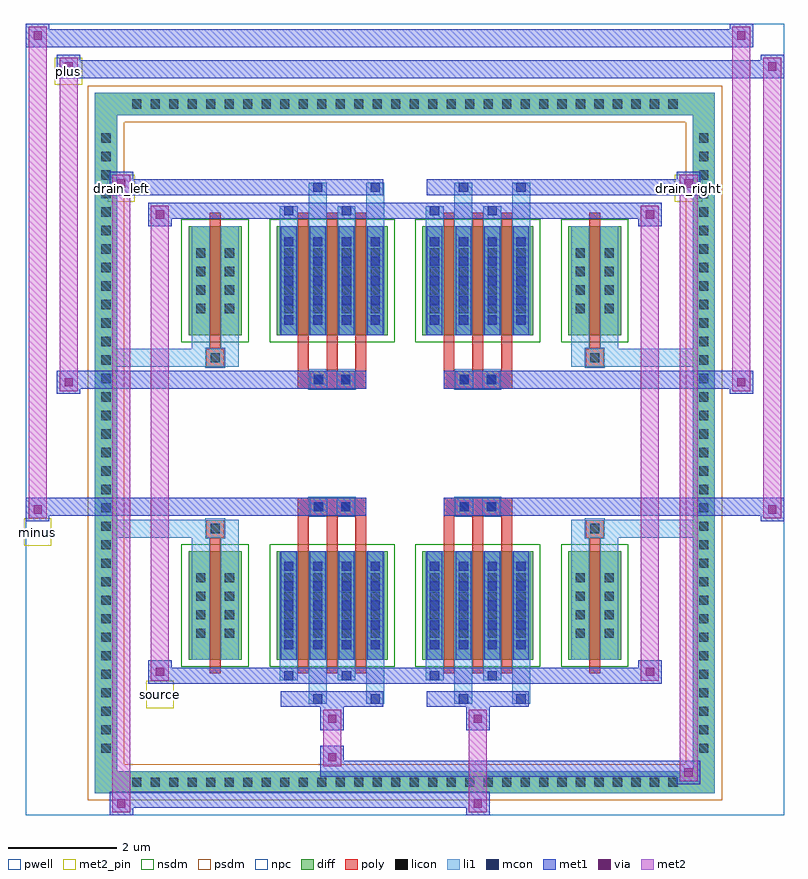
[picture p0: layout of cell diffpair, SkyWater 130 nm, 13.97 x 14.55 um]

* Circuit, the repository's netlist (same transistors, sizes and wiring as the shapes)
* NGSPICE file created from diffpair.ext - technology: sky130A

.subckt diffpair minus drain_right drain_left source plus
X0 source minus drain_right a_n1140_n1288# sky130_fd_pr__nfet_01v8 ad=0.33 pd=2.33 as=0.33 ps=2.33 w=2 l=0.2
X1 drain_right minus source a_n1140_n1288# sky130_fd_pr__nfet_01v8 ad=0.78 pd=4.78 as=0.33 ps=2.33 w=2 l=0.2
X2 source plus drain_left a_n1140_n1288# sky130_fd_pr__nfet_01v8 ad=0.33 pd=2.33 as=0.33 ps=2.33 w=2 l=0.2
X3 source plus drain_left a_n1140_n1288# sky130_fd_pr__nfet_01v8 ad=0.33 pd=2.33 as=0.33 ps=2.33 w=2 l=0.2
X4 a_n1140_n1288# a_n1140_n1288# a_n1140_n1288# a_n1140_n1288# sky130_fd_pr__nfet_01v8 ad=0.78 pd=4.78 as=6.24 ps=38.24 w=2 l=0.2
X5 source minus drain_right a_n1140_n1288# sky130_fd_pr__nfet_01v8 ad=0.33 pd=2.33 as=0.33 ps=2.33 w=2 l=0.2
X6 a_n1140_n1288# a_n1140_n1288# a_n1140_n1288# a_n1140_n1288# sky130_fd_pr__nfet_01v8 ad=0.78 pd=4.78 as=0 ps=0 w=2 l=0.2
X7 drain_left plus source a_n1140_n1288# sky130_fd_pr__nfet_01v8 ad=0.78 pd=4.78 as=0.33 ps=2.33 w=2 l=0.2
X8 a_n1140_n1288# a_n1140_n1288# a_n1140_n1288# a_n1140_n1288# sky130_fd_pr__nfet_01v8 ad=0.78 pd=4.78 as=0 ps=0 w=2 l=0.2
X9 drain_right minus source a_n1140_n1288# sky130_fd_pr__nfet_01v8 ad=0.33 pd=2.33 as=0.78 ps=4.78 w=2 l=0.2
X10 drain_left plus source a_n1140_n1288# sky130_fd_pr__nfet_01v8 ad=0.78 pd=4.78 as=0.33 ps=2.33 w=2 l=0.2
X11 drain_right minus source a_n1140_n1288# sky130_fd_pr__nfet_01v8 ad=0.33 pd=2.33 as=0.78 ps=4.78 w=2 l=0.2
X12 drain_right minus source a_n1140_n1288# sky130_fd_pr__nfet_01v8 ad=0.78 pd=4.78 as=0.33 ps=2.33 w=2 l=0.2
X13 drain_left plus source a_n1140_n1288# sky130_fd_pr__nfet_01v8 ad=0.33 pd=2.33 as=0.78 ps=4.78 w=2 l=0.2
X14 drain_left plus source a_n1140_n1288# sky130_fd_pr__nfet_01v8 ad=0.33 pd=2.33 as=0.78 ps=4.78 w=2 l=0.2
X15 a_n1140_n1288# a_n1140_n1288# a_n1140_n1288# a_n1140_n1288# sky130_fd_pr__nfet_01v8 ad=0.78 pd=4.78 as=0 ps=0 w=2 l=0.2
.ends

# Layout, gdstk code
import gdstk
lib = gdstk.Library(unit=1e-6, precision=5e-09)
def R(c, l, rs):  # rectangles x0, y0, x1, y1
    for r in rs: c.add(gdstk.rectangle(r[:2], r[2:], *l))
def A(c, l, x, y, w, h, nx, ny, dx, dy):  # array of equal rectangles
    R(c, l, [(x+i*dx, y+j*dy, x+i*dx+w, y+j*dy+h) for i in range(nx) for j in range(ny)])
def P(c, l, *ps):  # polygons
    for p in ps: c.add(gdstk.Polygon(p, *l))
pwell = (64, 44)
diff = (65, 20)
poly = (66, 20)
licon = (66, 44)
li1 = (67, 20)
mcon = (67, 44)
met1 = (68, 20)
via = (68, 44)
met2_pin = (69, 16)
met2 = (69, 20)
nsdm = (93, 44)
psdm = (94, 20)
npc = (95, 20)

diffpair = lib.new_cell('diffpair')
R(diffpair, pwell, [(-6.97,-6.84,6.97,7.71), (-4.29,-5.03,-0.01,-0.805), (0.01,-5.03,4.29,-0.805), (-4.29,0.805,-0.01,5.03), (0.01,0.805,4.29,5.03)])
A(diffpair, diff, -5.135, -6.44, 0.41, 0.41, 30, 2, 0.34, 12.47)
A(diffpair, diff, -5.7, -5.815, 0.41, 0.41, 1, 34, 0, 0.34)
A(diffpair, diff, 5.29, -5.815, 0.41, 0.41, 1, 34, 0, 0.34)
R(diffpair, diff, [(-5.135,-6.44,5.135,-6.03), (-5.7,-5.815,-5.29,5.815), (5.29,-5.815,5.7,5.815), (-3.98,-3.985,-3,-1.985), (-2.36,-3.985,-0.32,-1.985), (0.32,-3.985,2.36,-1.985), (3,-3.985,3.98,-1.985), (-3.98,1.985,-3,3.985), (-2.36,1.985,-0.32,3.985), (0.32,1.985,2.36,3.985), (3,1.985,3.98,3.985), (-5.135,6.03,5.135,6.44)])
P(diffpair, diff, [(5.7,6.44),(-5.7,6.44),(-5.7,-6.03),(-5.29,-6.03),(-5.29,6.03),(5.29,6.03),(5.29,-6.03),(-5.29,-6.03),(-5.7,-6.03),(-5.7,-6.44),(5.7,-6.44)])
A(diffpair, poly, -1.97, -4.235, 0.2, 2.5, 3, 2, 0.53, 5.97)
A(diffpair, poly, 0.71, -4.235, 0.2, 2.5, 3, 2, 0.53, 5.97)
A(diffpair, poly, -1.97, -1.735, 0.2, 0.4, 3, 2, 0.53, 3.07)
A(diffpair, poly, 0.71, -1.735, 0.2, 0.4, 3, 2, 0.53, 3.07)
R(diffpair, poly, [(-3.59,-4.235,-3.39,-1.735), (3.39,-4.235,3.59,-1.735), (-3.655,-1.735,-3.325,-1.405), (-3.655,-1.735,-3.325,-1.405), (3.325,-1.735,3.655,-1.405), (3.325,-1.735,3.655,-1.405), (-1.97,-1.335,-0.71,-1.005), (-1.755,-1.335,-1.425,-1.005), (-1.255,-1.335,-0.925,-1.005), (0.71,-1.335,1.97,-1.005), (0.925,-1.335,1.255,-1.005), (1.425,-1.335,1.755,-1.005), (-1.97,1.005,-0.71,1.335), (-1.755,1.005,-1.425,1.335), (-1.255,1.005,-0.925,1.335), (0.71,1.005,1.97,1.335), (0.925,1.005,1.255,1.335), (1.425,1.005,1.755,1.335), (-3.655,1.405,-3.325,1.735), (-3.655,1.405,-3.325,1.735), (3.325,1.405,3.655,1.735), (3.325,1.405,3.655,1.735), (-3.59,1.735,-3.39,4.235), (3.39,1.735,3.59,4.235)])
A(diffpair, licon, -5.015, -6.32, 0.17, 0.17, 30, 2, 0.34, 12.47)
A(diffpair, licon, -5.58, -5.695, 0.17, 0.17, 1, 34, 0, 0.34)
A(diffpair, licon, 5.41, -5.695, 0.17, 0.17, 1, 34, 0, 0.34)
A(diffpair, licon, -3.84, -3.58, 0.17, 0.17, 1, 4, 0, 0.34)
A(diffpair, licon, -3.31, -3.58, 0.17, 0.17, 1, 4, 0, 0.34)
A(diffpair, licon, -2.22, -3.58, 0.17, 0.17, 4, 4, 0.53, 0.34)
A(diffpair, licon, 0.46, -3.58, 0.17, 0.17, 4, 4, 0.53, 0.34)
A(diffpair, licon, 3.14, -3.58, 0.17, 0.17, 1, 4, 0, 0.34)
A(diffpair, licon, 3.67, -3.58, 0.17, 0.17, 1, 4, 0, 0.34)
A(diffpair, licon, -3.84, 2.39, 0.17, 0.17, 1, 4, 0, 0.34)
A(diffpair, licon, -3.31, 2.39, 0.17, 0.17, 1, 4, 0, 0.34)
A(diffpair, licon, -2.22, 2.39, 0.17, 0.17, 4, 4, 0.53, 0.34)
A(diffpair, licon, 0.46, 2.39, 0.17, 0.17, 4, 4, 0.53, 0.34)
A(diffpair, licon, 3.14, 2.39, 0.17, 0.17, 1, 4, 0, 0.34)
A(diffpair, licon, 3.67, 2.39, 0.17, 0.17, 1, 4, 0, 0.34)
R(diffpair, licon, [(-3.575,-1.655,-3.405,-1.485), (3.405,-1.655,3.575,-1.485), (-1.675,-1.255,-1.505,-1.085), (-1.175,-1.255,-1.005,-1.085), (1.005,-1.255,1.175,-1.085), (1.505,-1.255,1.675,-1.085), (-1.675,1.085,-1.505,1.255), (-1.175,1.085,-1.005,1.255), (1.005,1.085,1.175,1.255), (1.505,1.085,1.675,1.255), (-3.575,1.485,-3.405,1.655), (3.405,1.485,3.575,1.655)])
A(diffpair, li1, -5.095, -6.4, 0.33, 0.33, 30, 2, 0.34, 12.47)
A(diffpair, li1, -5.66, -5.775, 0.33, 0.33, 1, 34, 0, 0.34)
A(diffpair, li1, 5.33, -5.775, 0.33, 0.33, 1, 34, 0, 0.34)
A(diffpair, li1, -2.3, -3.985, 0.33, 2, 4, 2, 0.53, 5.97)
A(diffpair, li1, 0.38, -3.985, 0.33, 2, 4, 2, 0.53, 5.97)
A(diffpair, li1, -2.22, -3.79, 0.17, 0.17, 4, 5, 0.53, 0.36)
A(diffpair, li1, -2.22, -3.79, 0.17, 1.61, 4, 2, 0.53, 5.97)
A(diffpair, li1, 0.46, -3.79, 0.17, 0.17, 4, 5, 0.53, 0.36)
A(diffpair, li1, 0.46, -3.79, 0.17, 1.61, 4, 2, 0.53, 5.97)
A(diffpair, li1, -3.92, -3.66, 0.33, 0.33, 1, 4, 0, 0.34)
A(diffpair, li1, -3.39, -3.66, 0.33, 0.33, 1, 4, 0, 0.34)
A(diffpair, li1, -2.3, -3.66, 0.33, 0.33, 4, 4, 0.53, 0.34)
A(diffpair, li1, 0.38, -3.66, 0.33, 0.33, 4, 4, 0.53, 0.34)
A(diffpair, li1, 3.06, -3.66, 0.33, 0.33, 1, 4, 0, 0.34)
A(diffpair, li1, 3.59, -3.66, 0.33, 0.33, 1, 4, 0, 0.34)
A(diffpair, li1, -2.22, 2.18, 0.17, 0.17, 4, 5, 0.53, 0.36)
A(diffpair, li1, 0.46, 2.18, 0.17, 0.17, 4, 5, 0.53, 0.36)
A(diffpair, li1, -3.92, 2.31, 0.33, 0.33, 1, 4, 0, 0.34)
A(diffpair, li1, -3.39, 2.31, 0.33, 0.33, 1, 4, 0, 0.34)
A(diffpair, li1, -2.3, 2.31, 0.33, 0.33, 4, 4, 0.53, 0.34)
A(diffpair, li1, 0.38, 2.31, 0.33, 0.33, 4, 4, 0.53, 0.34)
A(diffpair, li1, 3.06, 2.31, 0.33, 0.33, 1, 4, 0, 0.34)
A(diffpair, li1, 3.59, 2.31, 0.33, 0.33, 1, 4, 0, 0.34)
R(diffpair, li1, [(-5.7,-6.44,-5.29,-6.03), (-5.7,-6.44,-5.29,-6.03), (-5.29,-6.44,5.29,-6.03), (5.29,-6.44,5.7,-6.03), (5.29,-6.44,5.7,-6.03), (-5.7,-6.03,-5.29,6.03), (5.29,-6.03,5.7,6.03), (-1.77,-4.79,-1.44,-3.985), (-1.69,-4.79,-1.52,-4.62), (-0.71,-4.79,-0.38,-3.985), (-0.63,-4.79,-0.46,-4.62), (0.91,-4.79,1.24,-3.985), (0.99,-4.79,1.16,-4.62), (1.97,-4.79,2.3,-3.985), (2.05,-4.79,2.22,-4.62), (-2.3,-4.36,-1.97,-3.985), (-2.22,-4.36,-2.05,-4.19), (-1.24,-4.36,-0.91,-3.985), (-1.16,-4.36,-0.99,-4.19), (0.38,-4.36,0.71,-3.985), (0.46,-4.36,0.63,-4.19), (1.44,-4.36,1.77,-3.985), (1.52,-4.36,1.69,-4.19), (-3.92,-3.985,-3.59,-1.985), (-3.39,-3.985,-3.06,-1.985), (3.06,-3.985,3.39,-1.985), (3.59,-3.985,3.92,-1.985), (-3.92,-1.985,-3.59,-1.405), (-3.39,-1.985,-3.06,-1.405), (3.06,-1.985,3.39,-1.405), (3.59,-1.985,3.92,-1.405), (-5.7,-1.735,-3.655,-1.405), (-3.92,-1.735,-3.655,-1.405), (-3.655,-1.735,-3.325,-1.405), (-3.325,-1.735,-3.06,-1.405), (3.06,-1.735,3.325,-1.405), (3.325,-1.735,3.655,-1.405), (3.325,-1.735,5.7,-1.405), (3.655,-1.735,3.92,-1.405), (-1.755,-1.335,-1.425,-1.005), (-1.255,-1.335,-0.925,-1.005), (0.925,-1.335,1.255,-1.005), (1.425,-1.335,1.755,-1.005), (-1.755,1.005,-1.425,1.335), (-1.255,1.005,-0.925,1.335), (0.925,1.005,1.255,1.335), (1.425,1.005,1.755,1.335), (-5.7,1.405,-3.655,1.735), (-3.92,1.405,-3.655,1.735), (-3.92,1.405,-3.59,1.985), (-3.655,1.405,-3.325,1.735), (-3.39,1.405,-3.06,1.985), (-3.325,1.405,-3.06,1.735), (3.06,1.405,3.325,1.735), (3.06,1.405,3.39,1.985), (3.325,1.405,3.655,1.735), (3.325,1.405,5.7,1.735), (3.59,1.405,3.92,1.985), (3.655,1.405,3.92,1.735), (-3.92,1.985,-3.59,3.985), (-3.39,1.985,-3.06,3.985), (3.06,1.985,3.39,3.985), (3.59,1.985,3.92,3.985), (-2.3,3.985,-1.97,4.36), (-1.77,3.985,-1.44,4.79), (-1.24,3.985,-0.91,4.36), (-0.71,3.985,-0.38,4.79), (0.38,3.985,0.71,4.36), (0.91,3.985,1.24,4.79), (1.44,3.985,1.77,4.36), (1.97,3.985,2.3,4.79), (-2.22,4.19,-2.05,4.36), (-1.16,4.19,-0.99,4.36), (0.46,4.19,0.63,4.36), (1.52,4.19,1.69,4.36), (-1.69,4.62,-1.52,4.79), (-0.63,4.62,-0.46,4.79), (0.99,4.62,1.16,4.79), (2.05,4.62,2.22,4.79), (-5.7,6.03,-5.29,6.44), (-5.7,6.03,-5.29,6.44), (-5.29,6.03,5.29,6.44), (5.29,6.03,5.7,6.44), (5.29,6.03,5.7,6.44)])
A(diffpair, mcon, -2.22, -3.79, 0.17, 0.17, 4, 5, 0.53, 0.36)
A(diffpair, mcon, 0.46, -3.79, 0.17, 0.17, 4, 5, 0.53, 0.36)
A(diffpair, mcon, -2.22, 2.18, 0.17, 0.17, 4, 5, 0.53, 0.36)
A(diffpair, mcon, 0.46, 2.18, 0.17, 0.17, 4, 5, 0.53, 0.36)
R(diffpair, mcon, [(-1.69,-4.79,-1.52,-4.62), (-0.63,-4.79,-0.46,-4.62), (0.99,-4.79,1.16,-4.62), (2.05,-4.79,2.22,-4.62), (-2.22,-4.36,-2.05,-4.19), (-1.16,-4.36,-0.99,-4.19), (0.46,-4.36,0.63,-4.19), (1.52,-4.36,1.69,-4.19), (-1.675,-1.255,-1.505,-1.085), (-1.175,-1.255,-1.005,-1.085), (1.005,-1.255,1.175,-1.085), (1.505,-1.255,1.675,-1.085), (-1.675,1.085,-1.505,1.255), (-1.175,1.085,-1.005,1.255), (1.005,1.085,1.175,1.255), (1.505,1.085,1.675,1.255), (-2.22,4.19,-2.05,4.36), (-1.16,4.19,-0.99,4.36), (0.46,4.19,0.63,4.36), (1.52,4.19,1.69,4.36), (-1.69,4.62,-1.52,4.79), (-0.63,4.62,-0.46,4.79), (0.99,4.62,1.16,4.79), (2.05,4.62,2.22,4.79)])
A(diffpair, met1, -2.28, -3.985, 0.29, 2, 4, 2, 0.53, 5.97)
A(diffpair, met1, 0.4, -3.985, 0.29, 2, 4, 2, 0.53, 5.97)
A(diffpair, met1, -2.28, -3.85, 0.29, 0.29, 4, 5, 0.53, 0.36)
A(diffpair, met1, 0.4, -3.85, 0.29, 0.29, 4, 5, 0.53, 0.36)
A(diffpair, met1, -2.28, 2.12, 0.29, 0.29, 4, 5, 0.53, 0.36)
A(diffpair, met1, 0.4, 2.12, 0.29, 0.29, 4, 5, 0.53, 0.36)
R(diffpair, met1, [(-5.43,-6.84,-5,-6.41), (1.125,-6.84,1.555,-6.41), (-5.43,-6.7,1.555,-6.41), (5,-6.27,5.43,-5.84), (-1.555,-6.13,5.43,-5.84), (-1.555,-5.99,-1.125,-5.56), (-1.555,-5.28,-1.125,-4.85), (1.125,-5.28,1.555,-4.85), (-2.28,-4.85,-0.4,-4.56), (-1.75,-4.85,-1.46,-4.56), (-0.69,-4.85,-0.4,-4.56), (0.4,-4.85,2.28,-4.56), (0.93,-4.85,1.22,-4.56), (1.99,-4.85,2.28,-4.56), (-4.72,-4.42,-4.29,-3.99), (-4.72,-4.42,-2.28,-4.13), (-2.28,-4.42,-1.99,-4.13), (-2.28,-4.42,-0.4,-4.13), (-1.22,-4.42,-0.93,-4.13), (-0.4,-4.42,0.4,-4.13), (0.4,-4.42,0.69,-4.13), (0.4,-4.42,2.28,-4.13), (1.46,-4.42,1.75,-4.13), (2.28,-4.42,4.72,-4.13), (4.29,-4.42,4.72,-3.99), (-6.97,-1.435,-6.54,-1.005), (6.54,-1.435,6.97,-1.005), (-6.97,-1.335,-0.71,-1.005), (-1.97,-1.335,-0.71,-1.005), (0.71,-1.335,1.97,-1.005), (0.71,-1.335,6.97,-1.005), (-1.735,-1.315,-1.445,-1.025), (-1.235,-1.315,-0.945,-1.025), (0.945,-1.315,1.235,-1.025), (1.445,-1.315,1.735,-1.025), (-6.4,0.905,-5.97,1.335), (5.97,0.905,6.4,1.335), (-6.4,1.005,-1.97,1.335), (-1.97,1.005,-0.71,1.335), (0.71,1.005,1.97,1.335), (1.97,1.005,6.4,1.335), (-1.735,1.025,-1.445,1.315), (-1.235,1.025,-0.945,1.315), (0.945,1.025,1.235,1.315), (1.445,1.025,1.735,1.315), (-4.72,3.99,-4.29,4.42), (4.29,3.99,4.72,4.42), (-4.72,4.13,-2.28,4.42), (-2.28,4.13,-1.99,4.42), (-2.28,4.13,-0.4,4.42), (-1.22,4.13,-0.93,4.42), (-0.4,4.13,0.4,4.42), (0.4,4.13,0.69,4.42), (0.4,4.13,2.28,4.42), (1.46,4.13,1.75,4.42), (2.28,4.13,4.72,4.42), (-5.43,4.56,-5,4.99), (-5.43,4.56,-2.28,4.85), (-2.28,4.56,-0.4,4.85), (-1.75,4.56,-1.46,4.85), (-0.69,4.56,-0.4,4.85), (0.4,4.56,2.28,4.85), (0.93,4.56,1.22,4.85), (1.99,4.56,2.28,4.85), (2.28,4.56,5.43,4.85), (5,4.56,5.43,4.99), (-6.4,6.71,-5.97,7.14), (-6.4,6.71,-4.29,7.04), (-4.29,6.71,4.29,7.04), (4.29,6.71,6.97,7.04), (6.54,6.71,6.97,7.14), (-6.97,7.28,-6.54,7.71), (-6.97,7.28,-4.29,7.61), (-4.29,7.28,4.29,7.61), (4.29,7.28,6.4,7.61), (5.97,7.28,6.4,7.71)])
R(diffpair, via, [(-5.29,-6.7,-5.14,-6.55), (1.265,-6.7,1.415,-6.55), (5.14,-6.13,5.29,-5.98), (-1.415,-5.85,-1.265,-5.7), (-1.415,-5.14,-1.265,-4.99), (1.265,-5.14,1.415,-4.99), (-4.58,-4.28,-4.43,-4.13), (4.43,-4.28,4.58,-4.13), (-6.83,-1.295,-6.68,-1.145), (6.68,-1.295,6.83,-1.145), (-6.26,1.045,-6.11,1.195), (6.11,1.045,6.26,1.195), (-4.58,4.13,-4.43,4.28), (4.43,4.13,4.58,4.28), (-5.29,4.7,-5.14,4.85), (5.14,4.7,5.29,4.85), (-6.26,6.85,-6.11,7), (6.68,6.85,6.83,7), (-6.83,7.42,-6.68,7.57), (6.11,7.42,6.26,7.57)])
R(diffpair, met2_pin, [(-4.755,-4.87,-4.255,-4.37), (-7.005,-1.885,-6.505,-1.385), (-5.465,4.44,-4.965,4.94), (4.965,4.44,5.465,4.94), (-6.435,6.59,-5.935,7.09)])
R(diffpair, met2, [(-5.38,-6.79,-5.05,-6.46), (-5.38,-6.79,-5.05,4.94), (1.175,-6.79,1.505,-6.46), (1.175,-6.46,1.505,-5.23), (5.05,-6.22,5.38,-5.89), (5.05,-6.22,5.38,4.94), (-1.505,-5.94,-1.175,-5.61), (-1.505,-5.61,-1.175,-5.23), (-1.505,-5.23,-1.175,-4.9), (1.175,-5.23,1.505,-4.9), (-4.67,-4.37,-4.34,-4.04), (-4.67,-4.37,-4.34,4.37), (4.34,-4.37,4.67,-4.04), (4.34,-4.37,4.67,4.37), (-6.92,-1.385,-6.59,-1.055), (-6.92,-1.385,-6.59,7.66), (6.59,-1.385,6.92,-1.055), (6.59,-1.385,6.92,7.09), (-6.35,0.955,-6.02,1.285), (-6.35,0.955,-6.02,7.09), (6.02,0.955,6.35,1.285), (6.02,0.955,6.35,7.66), (-4.67,4.04,-4.34,4.37), (4.34,4.04,4.67,4.37), (-5.38,4.61,-5.05,4.94), (5.05,4.61,5.38,4.94), (-6.35,6.76,-6.02,7.09), (6.59,6.76,6.92,7.09), (-6.92,7.33,-6.59,7.66), (6.02,7.33,6.35,7.66)])
P(diffpair, met2, [(6.92,-1.385),(6.92,-1.385),(6.92,-1.055),(6.92,-1.055)],
  [(6.92,6.76),(6.92,6.76),(6.92,7.09),(6.92,7.09)],
  [(-6.59,-1.385),(-6.59,-1.385),(-6.59,-1.055),(-6.59,-1.055)],
  [(-6.59,7.33),(-6.59,7.33),(-6.59,7.66),(-6.59,7.66)],
  [(6.35,0.955),(6.35,0.955),(6.35,1.285),(6.35,1.285)],
  [(6.35,7.33),(6.35,7.33),(6.35,7.66),(6.35,7.66)],
  [(-6.02,0.955),(-6.02,0.955),(-6.02,1.285),(-6.02,1.285)],
  [(-6.02,6.76),(-6.02,6.76),(-6.02,7.09),(-6.02,7.09)],
  [(-5.05,-6.79),(-5.05,-6.79),(-5.05,-6.46),(-5.05,-6.46)],
  [(-5.05,4.61),(-5.05,4.61),(-5.05,4.94),(-5.05,4.94)],
  [(5.38,-6.22),(5.38,-6.22),(5.38,-5.89),(5.38,-5.89)],
  [(5.38,4.61),(5.38,4.61),(5.38,4.94),(5.38,4.94)],
  [(-4.34,-4.37),(-4.34,-4.37),(-4.34,-4.04),(-4.34,-4.04)],
  [(-4.34,4.04),(-4.34,4.04),(-4.34,4.37),(-4.34,4.37)],
  [(4.67,-4.37),(4.67,-4.37),(4.67,-4.04),(4.67,-4.04)],
  [(4.67,4.04),(4.67,4.04),(4.67,4.37),(4.67,4.37)])
R(diffpair, nsdm, [(-4.11,-4.115,-2.87,-1.855), (-2.49,-4.115,-0.19,-1.855), (0.19,-4.115,2.49,-1.855), (2.87,-4.115,4.11,-1.855), (-4.11,1.855,-2.87,4.115), (-2.49,1.855,-0.19,4.115), (0.19,1.855,2.49,4.115), (2.87,1.855,4.11,4.115)])
P(diffpair, psdm, [(5.83,6.57),(-5.83,6.57),(-5.83,-5.9),(-5.16,-5.9),(-5.16,5.9),(5.16,5.9),(5.16,-5.9),(-5.16,-5.9),(-5.83,-5.9),(-5.83,-6.57),(5.83,-6.57)])
R(diffpair, npc, [(-3.675,-1.755,-3.305,-1.385), (3.305,-1.755,3.675,-1.385), (-1.775,-1.355,-1.405,-0.985), (-1.775,-1.355,-0.905,-0.985), (-1.775,-1.355,-0.905,-0.985), (-1.275,-1.355,-0.905,-0.985), (0.905,-1.355,1.275,-0.985), (0.905,-1.355,1.775,-0.985), (0.905,-1.355,1.775,-0.985), (1.405,-1.355,1.775,-0.985), (-1.775,0.985,-1.405,1.355), (-1.775,0.985,-0.905,1.355), (-1.775,0.985,-0.905,1.355), (-1.275,0.985,-0.905,1.355), (0.905,0.985,1.275,1.355), (0.905,0.985,1.775,1.355), (0.905,0.985,1.775,1.355), (1.405,0.985,1.775,1.355), (-3.675,1.385,-3.305,1.755), (3.305,1.385,3.675,1.755)])
diffpair.add(gdstk.Label('minus', (-6.755,-1.635), layer=69, texttype=5))
diffpair.add(gdstk.Label('drain_right', (5.215,4.69), layer=69, texttype=5))
diffpair.add(gdstk.Label('drain_left', (-5.215,4.69), layer=69, texttype=5))
diffpair.add(gdstk.Label('source', (-4.505,-4.62), layer=69, texttype=5))
diffpair.add(gdstk.Label('plus', (-6.185,6.84), layer=69, texttype=5))

lib.write_gds('diffpair.gds')
